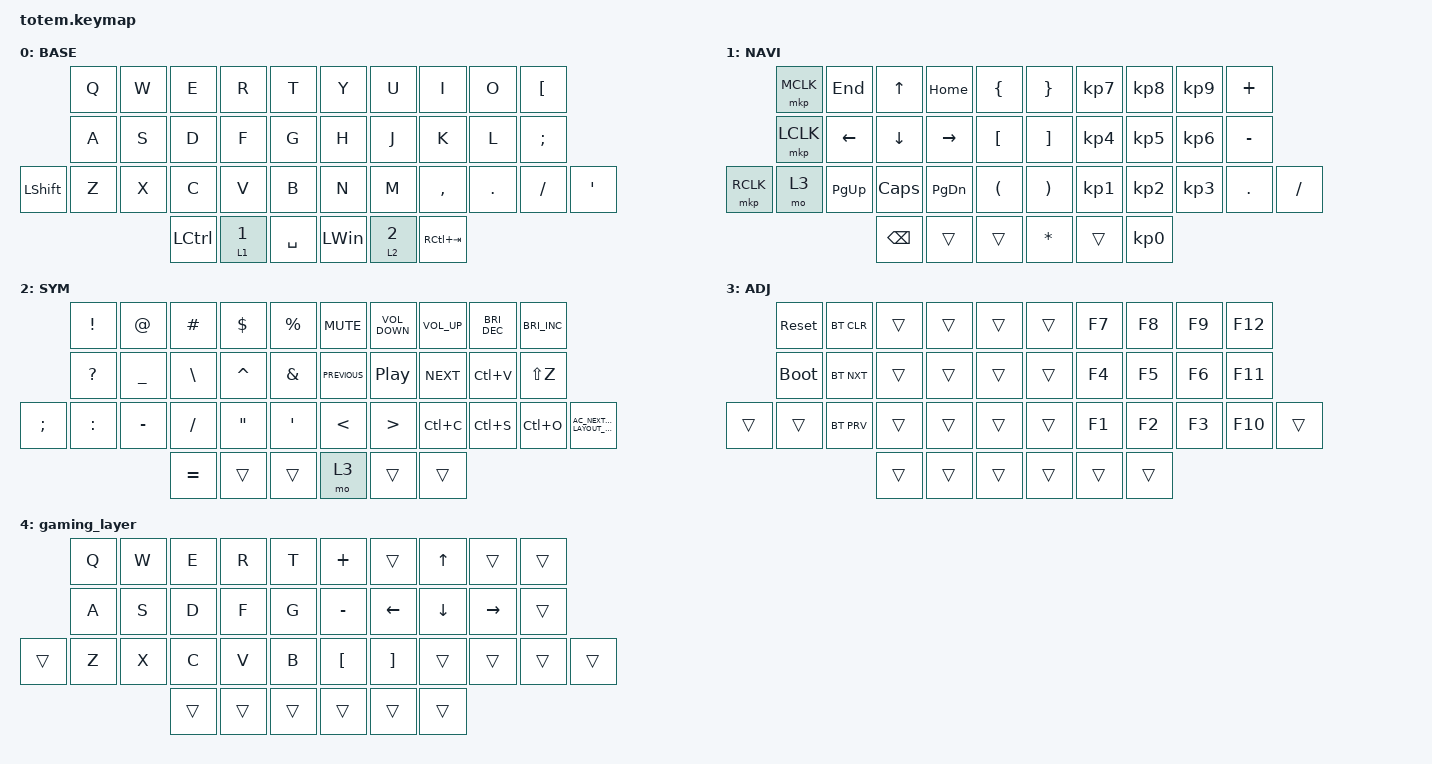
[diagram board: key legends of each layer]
//
//                                                        ▀▀▀▀▀     ▀▀▀▀▀          ▀▀█▀▀
//                                                        ▄▀▀▀▄  ▄  ▄▀▀▀▄  ▄  ▄▀▀▀▄  █  ▄▀▀▀▄
//                                                        █   █  █  █   █  █  █   █  █  █   █
//                                                         ▀▀▀   █   ▀▀▀   █   ▀▀▀   ▀   ▀▀▀
//                                                               █      ▄▄▄█▄▄▄    █   █  
//                                                               ▀      █  █  █     █▄█
//                                                             ▀▀▀▀▀    █  █  █      ▀
//                                                                      ▀  ▀  ▀
//
// ▄▄▄▄▄▄▄▄▄▄▄▄▄▄▄▄▄▄▄▄▄▄▄▄▄▄▄▄▄▄▄▄▄▄▄▄▄▄▄▄▄▄▄▄▄▄▄▄▄▄▄▄▄▄▄▄▄▄▄▄▄▄▄▄▄▄▄▄▄▄▄▄▄▄▄▄▄▄▄▄▄▄▄▄▄▄▄▄▄▄▄▄▄▄▄▄▄▄▄▄▄▄▄▄▄▄▄▄▄▄▄▄▄▄▄▄▄▄▄▄▄▄▄▄▄▄▄▄▄▄▄▄▄▄▄▄▄▄▄▄▄▄▄▄▄▄▄▄▄

#include <dt-bindings/zmk/mouse.h>
#include <behaviors.dtsi>
#include <dt-bindings/zmk/bt.h>
#include <dt-bindings/zmk/keys.h>
#include <dt-bindings/zmk/pointing.h>

#define BASE 0
#define NAV  1
#define SYM  2
#define ADJ  3
#define TVP1 4
#define TVP2 5

&mt {
    tapping-term-ms = <170>;
    quick-tap-ms = <100>;
    flavor = "tap-preferred";
};

/ {
    combos {
        compatible = "zmk,combos";

        combo_esc {
            timeout-ms = <50>;
            key-positions = <10 20>;
            bindings = <&kp ESC>;
        };

        backspace {
            bindings = <&kp BACKSPACE>;
            key-positions = <9 8>;
        };

        Delete {
            bindings = <&kp DEL>;
            key-positions = <1 0>;
        };

        Tabulate {
            bindings = <&kp TAB>;
            key-positions = <11 10>;
        };

        gaming_layer {
            bindings = <&tog 4>;
            key-positions = <36 33>;
        };

        Enter {
            bindings = <&kp ENTER>;
            key-positions = <17 18>;
        };

        Mayus {
            bindings = <&kp CAPS>;
            key-positions = <21 22>;
        };

        Win {
            bindings = <&kp LEFT_WIN>;
            key-positions = <26 27>;
        };
    };

    keymap {
        compatible = "zmk,keymap";

        // ▄▄▄▄▄▄▄▄▄▄▄▄▄▄▄▄▄▄▄▄▄▄▄▄▄▄▄▄▄▄▄▄▄▄▄▄▄▄▄▄▄▄▄▄▄▄▄▄▄▄▄▄▄▄▄▄▄▄▄▄▄▄▄▄▄▄▄▄▄▄▄▄▄▄▄▄▄▄▄▄▄▄▄▄▄▄▄▄▄▄▄▄▄▄▄▄▄▄▄▄▄▄▄▄▄▄▄▄▄▄▄▄▄▄▄▄▄▄▄▄▄▄▄▄▄▄▄▄▄▄▄▄▄▄▄▄▄▄▄▄▄▄▄▄▄▄▄▄▄

        base_layer {
            // ┏━━━━━━━━━━━━━━━━━━━━━━━━━━━━━━━━━━━━━━━┓

            label = "BASE";

            // ┗━━━━━━━━━━━━━━━━━━━━━━━━━━━━━━━━━━━━━━━┛
            //             ┏━━━━━━━━━━━┳━━━━━━━━━━━┳━━━━━━━━━━━┳━━━━━━━━━━━┳━━━━━━━━━━━┓   ┏━━━━━━━━━━━┳━━━━━━━━━━━┳━━━━━━━━━━━┳━━━━━━━━━━━┳━━━━━━━━━━━┓
            //             ┃     Q     ┃     W     ┃     F     ┃     P     ┃     G     ┃   ┃     J     ┃     L     ┃     U     ┃     Y     ┃     ;     ┃
            //             ┣━━━━━━━━━━━╋━━━━━━━━━━━╋━━━━━━━━━━━╋━━━━━━━━━━━╋━━━━━━━━━━━┫   ┣━━━━━━━━━━━╋━━━━━━━━━━━╋━━━━━━━━━━━╋━━━━━━━━━━━╋━━━━━━━━━━━┫
            //             ┃     A     ┃     R     ┃     S     ┃     T     ┃     D     ┃   ┃     H     ┃     N     ┃     E     ┃     I     ┃     O     ┃
            // ┏━━━━━━━━━━━╋━━━━━━━━━━━╋━━━━━━━━━━━╋━━━━━━━━━━━╋━━━━━━━━━━━╋━━━━━━━━━━━┫   ┣━━━━━━━━━━━╋━━━━━━━━━━━╋━━━━━━━━━━━╋━━━━━━━━━━━╋━━━━━━━━━━━╋━━━━━━━━━━━┓
            // ┃     Q     ┃     Z     ┃     X     ┃     C     ┃     V     ┃     B     ┃   ┃     K     ┃     M     ┃     ,     ┃     .     ┃     /     ┃     \     ┃
            // ┗━━━━━━━━━━━┻━━━━━━━━━━━┻━━━━━━━━━━━╋━━━━━━━━━━━╋━━━━━━━━━━━╋━━━━━━━━━━━┫   ┣━━━━━━━━━━━╋━━━━━━━━━━━╋━━━━━━━━━━━╋━━━━━━━━━━━┻━━━━━━━━━━━┻━━━━━━━━━━━┛
            //                                     ┃    DEL    ┃    TAB    ┃    SPC    ┃   ┃   ENTER   ┃           ┃   BSPC    ┃
            //                                     ┗━━━━━━━━━━━┻━━━━━━━━━━━┻━━━━━━━━━━━┛   ┗━━━━━━━━━━━┻━━━━━━━━━━━┻━━━━━━━━━━━┛

            bindings = <
                &kp Q  &kp W  &kp E             &kp R           &kp T        &kp Y         &kp U           &kp I        &kp O    &kp LEFT_BRACKET
                &kp A  &kp S  &kp D             &kp F           &kp G        &kp H         &kp J           &kp K        &kp L    &kp SEMI
&kp LEFT_SHIFT  &kp Z  &kp X  &kp C             &kp V           &kp B        &kp N         &kp M           &kp COMMA    &kp DOT  &kp SLASH         &kp APOS
                              &kp LEFT_CONTROL  &lt 1 NUMBER_1  &kp SPACE    &kp LEFT_WIN  &lt 2 NUMBER_2  &kp RC(TAB)
            >;
        };

        // ▄▄▄▄▄▄▄▄▄▄▄▄▄▄▄▄▄▄▄▄▄▄▄▄▄▄▄▄▄▄▄▄▄▄▄▄▄▄▄▄▄▄▄▄▄▄▄▄▄▄▄▄▄▄▄▄▄▄▄▄▄▄▄▄▄▄▄▄▄▄▄▄▄▄▄▄▄▄▄▄▄▄▄▄▄▄▄▄▄▄▄▄▄▄▄▄▄▄▄▄▄▄▄▄▄▄▄▄▄▄▄▄▄▄▄▄▄▄▄▄▄▄▄▄▄▄▄▄▄▄▄▄▄▄▄▄▄▄▄▄▄▄▄▄▄▄▄▄▄

        nav_layer {
            // ┏━━━━━━━━━━━━━━━━━━━━━━━━━━━━━━━━━━━━━━━┓

            label = "NAVI";

            // ┗━━━━━━━━━━━━━━━━━━━━━━━━━━━━━━━━━━━━━━━┛
            //             ┏━━━━━━━━━━━┳━━━━━━━━━━━┳━━━━━━━━━━━┳━━━━━━━━━━━┳━━━━━━━━━━━┓   ┏━━━━━━━━━━━┳━━━━━━━━━━━┳━━━━━━━━━━━┳━━━━━━━━━━━┳━━━━━━━━━━━┓
            //             ┃           ┃           ┃     UP    ┃           ┃     {     ┃   ┃     }     ┃     7     ┃     8     ┃     9     ┃     +     ┃
            //             ┣━━━━━━━━━━━╋━━━━━━━━━━━╋━━━━━━━━━━━╋━━━━━━━━━━━╋━━━━━━━━━━━┫   ┣━━━━━━━━━━━╋━━━━━━━━━━━╋━━━━━━━━━━━╋━━━━━━━━━━━╋━━━━━━━━━━━┫
            //             ┃   SHIFT   ┃   LEFT    ┃    DOWN   ┃   RIGHT   ┃     [     ┃   ┃     ]     ┃     4     ┃     5     ┃     6     ┃     -     ┃
            // ┏━━━━━━━━━━━╋━━━━━━━━━━━╋━━━━━━━━━━━╋━━━━━━━━━━━╋━━━━━━━━━━━╋━━━━━━━━━━━┫   ┣━━━━━━━━━━━╋━━━━━━━━━━━╋━━━━━━━━━━━╋━━━━━━━━━━━╋━━━━━━━━━━━╋━━━━━━━━━━━┓
            // ┃           ┃           ┃   P UP    ┃  C LOCK   ┃  P DOWN   ┃     (     ┃   ┃     )     ┃     1     ┃     2     ┃     3     ┃     *     ┃           ┃
            // ┗━━━━━━━━━━━┻━━━━━━━━━━━┻━━━━━━━━━━━╋━━━━━━━━━━━╋━━━━━━━━━━━╋━━━━━━━━━━━┫   ┣━━━━━━━━━━━╋━━━━━━━━━━━╋━━━━━━━━━━━╋━━━━━━━━━━━┻━━━━━━━━━━━┻━━━━━━━━━━━┛
            //                                     ┃           ┃    TAB    ┃    SPC    ┃   ┃    DEL    ┃     0     ┃           ┃
            //                                     ┗━━━━━━━━━━━┻━━━━━━━━━━━┻━━━━━━━━━━━┛   ┗━━━━━━━━━━━┻━━━━━━━━━━━┻━━━━━━━━━━━┛

            bindings = <
           &mkp MCLK  &kp END    &kp UP         &kp HOME   &kp LBRC    &kp RBRC      &kp KP_N7  &kp KP_N8        &kp KP_N9  &kp PLUS
           &mkp LCLK  &kp LEFT   &kp DOWN       &kp RIGHT  &kp LBKT    &kp RBKT      &kp KP_N4  &kp KP_N5        &kp KP_N6  &kp MINUS
&mkp RCLK  &mo 3      &kp PG_UP  &kp CAPS       &kp PG_DN  &kp LPAR    &kp RPAR      &kp KP_N1  &kp KP_N2        &kp KP_N3  &kp DOT    &kp SLASH
                                 &kp BACKSPACE  &trans     &trans      &kp ASTERISK  &trans     &kp KP_NUMBER_0
            >;
        };

        // ▄▄▄▄▄▄▄▄▄▄▄▄▄▄▄▄▄▄▄▄▄▄▄▄▄▄▄▄▄▄▄▄▄▄▄▄▄▄▄▄▄▄▄▄▄▄▄▄▄▄▄▄▄▄▄▄▄▄▄▄▄▄▄▄▄▄▄▄▄▄▄▄▄▄▄▄▄▄▄▄▄▄▄▄▄▄▄▄▄▄▄▄▄▄▄▄▄▄▄▄▄▄▄▄▄▄▄▄▄▄▄▄▄▄▄▄▄▄▄▄▄▄▄▄▄▄▄▄▄▄▄▄▄▄▄▄▄▄▄▄▄▄▄▄▄▄▄▄▄

        sim_layer {
            // ┏━━━━━━━━━━━━━━━━━━━━━━━━━━━━━━━━━━━━━━━┓

            label = "SYM";

            // ┗━━━━━━━━━━━━━━━━━━━━━━━━━━━━━━━━━━━━━━━┛
            //             ┏━━━━━━━━━━━┳━━━━━━━━━━━┳━━━━━━━━━━━┳━━━━━━━━━━━┳━━━━━━━━━━━┓   ┏━━━━━━━━━━━┳━━━━━━━━━━━┳━━━━━━━━━━━┳━━━━━━━━━━━┳━━━━━━━━━━━┓
            //             ┃     !     ┃     @     ┃     #     ┃     $     ┃     %     ┃   ┃     ˆ     ┃     &     ┃     Ü     ┃     '     ┃     "     ┃
            //             ┣━━━━━━━━━━━╋━━━━━━━━━━━╋━━━━━━━━━━━╋━━━━━━━━━━━╋━━━━━━━━━━━┫   ┣━━━━━━━━━━━╋━━━━━━━━━━━╋━━━━━━━━━━━╋━━━━━━━━━━━╋━━━━━━━━━━━┫
            //             ┃     Ä     ┃           ┃    SZ     ┃           ┃           ┃   ┃   MUTE    ┃   YEN     ┃   EURO    ┃  POUND    ┃     Ö     ┃
            // ┏━━━━━━━━━━━╋━━━━━━━━━━━╋━━━━━━━━━━━╋━━━━━━━━━━━╋━━━━━━━━━━━╋━━━━━━━━━━━┫   ┣━━━━━━━━━━━╋━━━━━━━━━━━╋━━━━━━━━━━━╋━━━━━━━━━━━╋━━━━━━━━━━━╋━━━━━━━━━━━┓
            // ┃           ┃  EMAIL1   ┃  EMAIL2   ┃           ┃           ┃           ┃   ┃   VOL-    ┃   VOL+    ┃   LAST    ┃   NEXT    ┃     \     ┃           ┃
            // ┗━━━━━━━━━━━┻━━━━━━━━━━━┻━━━━━━━━━━━╋━━━━━━━━━━━╋━━━━━━━━━━━╋━━━━━━━━━━━┫   ┣━━━━━━━━━━━╋━━━━━━━━━━━╋━━━━━━━━━━━╋━━━━━━━━━━━┻━━━━━━━━━━━┻━━━━━━━━━━━┛
            //                                     ┃           ┃    GIF    ┃    ADJ    ┃   ┃           ┃           ┃           ┃
            //                                     ┗━━━━━━━━━━━┻━━━━━━━━━━━┻━━━━━━━━━━━┛   ┗━━━━━━━━━━━┻━━━━━━━━━━━┻━━━━━━━━━━━┛

            bindings = <
               &kp EXCL      &kp AT     &kp HASH       &kp DLLR           &kp PRCNT           &kp K_MUTE      &kp C_VOLUME_DOWN  &kp C_VOLUME_UP  &kp C_BRIGHTNESS_DEC  &kp C_BRIGHTNESS_INC
               &kp QUESTION  &kp UNDER  &kp BACKSLASH  &kp CARET          &kp AMPERSAND       &kp C_PREVIOUS  &kp C_PLAY_PAUSE   &kp C_NEXT       &kp LC(V)             &kp LS(Z)
&kp SEMICOLON  &kp COLON     &kp MINUS  &kp SLASH      &kp DOUBLE_QUOTES  &kp SINGLE_QUOTE    &kp LESS_THAN   &kp GREATER_THAN   &kp LC(C)        &kp LC(S)             &kp LC(O)             &kp C_AC_NEXT_KEYBOARD_LAYOUT_SELECT
                                        &kp EQUAL      &trans             &trans              &mo 3           &trans             &trans
            >;
        };

        // ▄▄▄▄▄▄▄▄▄▄▄▄▄▄▄▄▄▄▄▄▄▄▄▄▄▄▄▄▄▄▄▄▄▄▄▄▄▄▄▄▄▄▄▄▄▄▄▄▄▄▄▄▄▄▄▄▄▄▄▄▄▄▄▄▄▄▄▄▄▄▄▄▄▄▄▄▄▄▄▄▄▄▄▄▄▄▄▄▄▄▄▄▄▄▄▄▄▄▄▄▄▄▄▄▄▄▄▄▄▄▄▄▄▄▄▄▄▄▄▄▄▄▄▄▄▄▄▄▄▄▄▄▄▄▄▄▄▄▄▄▄▄▄▄▄▄▄▄▄

        fn_layer {
            // ┏━━━━━━━━━━━━━━━━━━━━━━━━━━━━━━━━━━━━━━━┓

            label = "ADJ";

            // ┗━━━━━━━━━━━━━━━━━━━━━━━━━━━━━━━━━━━━━━━┛
            //             ┏━━━━━━━━━━━┳━━━━━━━━━━━┳━━━━━━━━━━━┳━━━━━━━━━━━┳━━━━━━━━━━━┓   ┏━━━━━━━━━━━┳━━━━━━━━━━━┳━━━━━━━━━━━┳━━━━━━━━━━━┳━━━━━━━━━━━┓
            //             ┃   RESET   ┃ BT CLEAR  ┃  OUT TOG  ┃           ┃           ┃   ┃           ┃    F7     ┃    F8     ┃    F9     ┃    F12    ┃
            //             ┣━━━━━━━━━━━╋━━━━━━━━━━━╋━━━━━━━━━━━╋━━━━━━━━━━━╋━━━━━━━━━━━┫   ┣━━━━━━━━━━━╋━━━━━━━━━━━╋━━━━━━━━━━━╋━━━━━━━━━━━╋━━━━━━━━━━━┫
            //             ┃ BOOTLOAD  ┃ BT NEXT   ┃           ┃           ┃           ┃   ┃           ┃    F4     ┃    F5     ┃    F6     ┃    F11    ┃
            // ┏━━━━━━━━━━━╋━━━━━━━━━━━╋━━━━━━━━━━━╋━━━━━━━━━━━╋━━━━━━━━━━━╋━━━━━━━━━━━┫   ┣━━━━━━━━━━━╋━━━━━━━━━━━╋━━━━━━━━━━━╋━━━━━━━━━━━╋━━━━━━━━━━━╋━━━━━━━━━━━┓
            // ┃           ┃           ┃ BT PREV   ┃           ┃           ┃           ┃   ┃           ┃    F1     ┃    F2     ┃    F3     ┃    F10    ┃           ┃
            // ┗━━━━━━━━━━━┻━━━━━━━━━━━┻━━━━━━━━━━━╋━━━━━━━━━━━╋━━━━━━━━━━━╋━━━━━━━━━━━┫   ┣━━━━━━━━━━━╋━━━━━━━━━━━╋━━━━━━━━━━━╋━━━━━━━━━━━┻━━━━━━━━━━━┻━━━━━━━━━━━┛
            //                                     ┃           ┃           ┃           ┃   ┃           ┃           ┃           ┃
            //                                     ┗━━━━━━━━━━━┻━━━━━━━━━━━┻━━━━━━━━━━━┛   ┗━━━━━━━━━━━┻━━━━━━━━━━━┻━━━━━━━━━━━┛

            bindings = <
        &sys_reset   &bt BT_CLR  &trans  &trans  &trans    &trans  &kp F7  &kp F8  &kp F9  &kp F12
        &bootloader  &bt BT_NXT  &trans  &trans  &trans    &trans  &kp F4  &kp F5  &kp F6  &kp F11
&trans  &trans       &bt BT_PRV  &trans  &trans  &trans    &trans  &kp F1  &kp F2  &kp F3  &kp F10  &trans
                                 &trans  &trans  &trans    &trans  &trans  &trans
            >;
        };

        // ▄▄▄▄▄▄▄▄▄▄▄▄▄▄▄▄▄▄▄▄▄▄▄▄▄▄▄▄▄▄▄▄▄▄▄▄▄▄▄▄▄▄▄▄▄▄▄▄▄▄▄▄▄▄▄▄▄▄▄▄▄▄▄▄▄▄▄▄▄▄▄▄▄▄▄▄▄▄▄▄▄▄▄▄▄▄▄▄▄▄▄▄▄▄▄▄▄▄▄▄▄▄▄▄▄▄▄▄▄▄▄▄▄▄▄▄▄▄▄▄▄▄▄▄▄▄▄▄▄▄▄▄▄▄▄▄▄▄▄▄▄▄▄▄▄▄▄▄▄
        // ▄▄▄▄▄▄▄▄▄▄▄▄▄▄▄▄▄▄▄▄▄▄▄▄▄▄▄▄▄▄▄▄▄▄▄▄▄▄▄▄▄▄▄▄▄▄▄▄▄▄▄▄▄▄▄▄▄▄▄▄▄▄▄▄▄▄▄▄▄▄▄▄▄▄▄▄▄▄▄▄▄▄▄▄▄▄▄▄▄▄▄▄▄▄▄▄▄▄▄▄▄▄▄▄▄▄▄▄▄▄▄▄▄▄▄▄▄▄▄▄▄▄▄▄▄▄▄▄▄▄▄▄▄▄▄▄▄▄▄▄▄▄▄▄▄▄▄▄▄

        gaming_layer {
            bindings = <
        &kp Q  &kp W  &kp E   &kp R   &kp T     &kp PLUS          &trans             &kp UP_ARROW  &trans     &trans
        &kp A  &kp S  &kp D   &kp F   &kp G     &kp MINUS         &kp LEFT_ARROW     &kp DOWN      &kp RIGHT  &trans
&trans  &kp Z  &kp X  &kp C   &kp V   &kp B     &kp LEFT_BRACKET  &kp RIGHT_BRACKET  &trans        &trans     &trans  &trans
                      &trans  &trans  &trans    &trans            &trans             &trans
            >;
        };
    };
};
